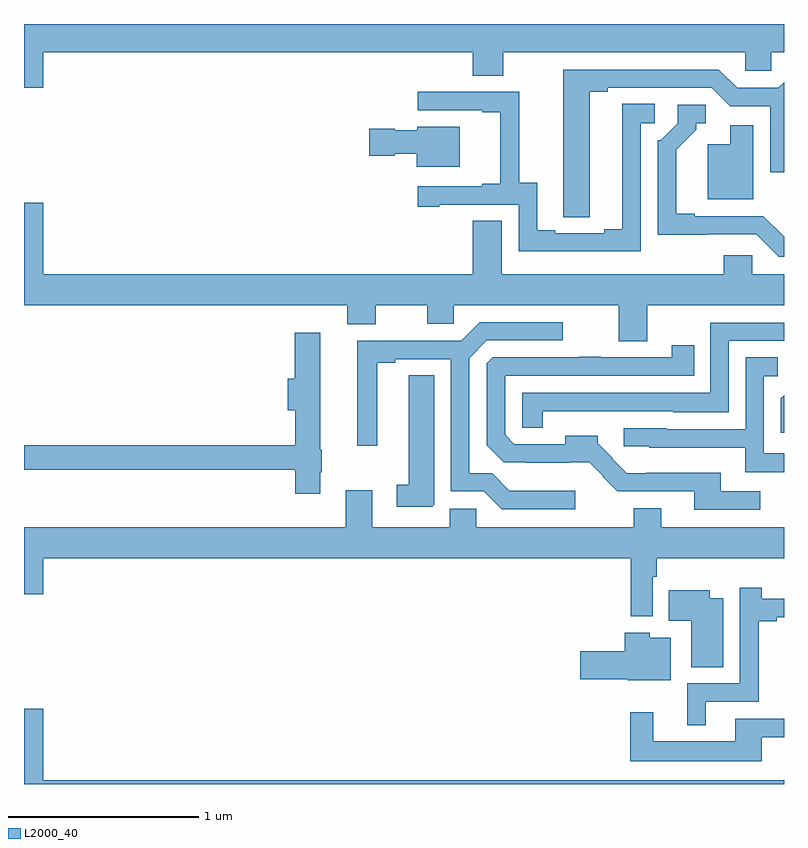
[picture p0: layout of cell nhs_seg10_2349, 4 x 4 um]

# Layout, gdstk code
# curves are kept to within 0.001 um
import gdstk
lib = gdstk.Library(unit=1e-6, precision=1e-09)
def P(c, l, *ps):  # polygons
    for p in ps: c.add(gdstk.Polygon(p, *l))
L2000_40 = (2000, 40)

nhs_seg10_2349 = lib.new_cell('nhs_seg10_2349')
P(nhs_seg10_2349, L2000_40, [(237.1,1264.352),(239.363,1264.352),(239.363,1264.228),(239.523,1264.228),(239.523,1264.352),(240.795,1264.352),(240.795,1264.254),(240.933,1264.254),(240.933,1264.352),(241,1264.352),(241,1264.5),(237,1264.5),(237,1264.164),(237.1,1264.164)],
  [(239.977,1264.144),(240.073,1264.144),(240.073,1264.164),(240.621,1264.164),(240.717,1264.068),(240.927,1264.068),(240.927,1263.72),(241,1263.72),(241,1264.193),(240.971,1264.164),(240.753,1264.164),(240.657,1264.26),(239.837,1264.26),(239.838,1263.484),(239.977,1263.484)],
  [(240.246,1263.978),(240.319,1263.978),(240.319,1264.079),(240.149,1264.079),(240.149,1263.419),(240.053,1263.419),(240.053,1263.399),(239.797,1263.399),(239.797,1263.414),(239.701,1263.414),(239.701,1263.665),(239.607,1263.665),(239.607,1264.143),(239.073,1264.143),(239.073,1264.047),(239.411,1264.047),(239.411,1264.035),(239.507,1264.035),(239.507,1263.658),(239.411,1263.658),(239.411,1263.645),(239.073,1263.645),(239.073,1263.537),(239.185,1263.537),(239.185,1263.549),(239.604,1263.549),(239.604,1263.303),(240.246,1263.303)],
  [(241,1263.38),(240.891,1263.489),(240.529,1263.489),(240.529,1263.502),(240.433,1263.502),(240.433,1263.838),(240.538,1263.943),(240.538,1263.978),(240.589,1263.978),(240.589,1264.074),(240.441,1264.074),(240.441,1263.978),(240.351,1263.888),(240.336,1263.888),(240.336,1263.392),(240.855,1263.393),(240.972,1263.276),(241,1263.276)],
  [(240.838,1263.967),(240.716,1263.967),(240.716,1263.868),(240.599,1263.868),(240.599,1263.578),(240.838,1263.578)],
  [(239.293,1263.958),(239.07,1263.958),(239.07,1263.94),(238.95,1263.94),(238.95,1263.948),(238.818,1263.948),(238.818,1263.806),(238.95,1263.806),(238.95,1263.818),(239.066,1263.818),(239.066,1263.749),(239.293,1263.749)],
  [(240.279,1263.02),(241,1263.02),(241,1263.184),(240.834,1263.184),(240.834,1263.282),(240.683,1263.282),(240.683,1263.184),(239.515,1263.184),(239.515,1263.464),(239.363,1263.464),(239.363,1263.184),(237.1,1263.184),(237.1,1263.559),(237,1263.559),(237,1263.02),(238.7,1263.02),(238.7,1262.921),(238.852,1262.921),(238.852,1263.02),(239.123,1263.02),(239.123,1262.922),(239.262,1262.922),(239.262,1263.02),(240.131,1263.02),(240.131,1262.83),(240.279,1262.83)],
  [(239.902,1262.044),(239.555,1262.044),(239.464,1262.135),(239.343,1262.135),(239.343,1262.742),(239.436,1262.835),(239.836,1262.835),(239.836,1262.931),(239.399,1262.931),(239.3,1262.832),(238.754,1262.832),(238.754,1262.28),(238.858,1262.28),(238.858,1262.716),(238.954,1262.716),(238.954,1262.736),(239.247,1262.736),(239.247,1262.04),(239.421,1262.04),(239.514,1261.947),(239.902,1261.947)],
  [(239.731,1262.462),(239.985,1262.462),(239.985,1262.463),(240.417,1262.463),(240.417,1262.456),(240.708,1262.456),(240.708,1262.832),(241,1262.832),(241,1262.928),(240.612,1262.928),(240.612,1262.559),(239.622,1262.559),(239.622,1262.374),(239.731,1262.374)],
  [(238.558,1262.14),(238.566,1262.14),(238.566,1262.259),(238.558,1262.259),(238.558,1262.875),(238.424,1262.875),(238.424,1262.634),(238.388,1262.634),(238.388,1262.468),(238.427,1262.468),(238.427,1262.282),(237,1262.282),(237,1262.154),(238.427,1262.154),(238.427,1262.028),(238.558,1262.028)],
  [(240.874,1262.04),(240.667,1262.04),(240.667,1262.137),(240.274,1262.137),(240.274,1262.135),(240.173,1262.135),(240.096,1262.211),(240.099,1262.214),(240.02,1262.293),(240.02,1262.332),(239.849,1262.332),(239.849,1262.289),(239.58,1262.289),(239.532,1262.337),(239.532,1262.649),(240.527,1262.649),(240.527,1262.809),(240.409,1262.809),(240.409,1262.745),(240.035,1262.745),(240.035,1262.75),(239.923,1262.75),(239.923,1262.745),(239.466,1262.745),(239.436,1262.715),(239.436,1262.283),(239.525,1262.194),(239.641,1262.194),(239.641,1262.192),(239.975,1262.193),(240.049,1262.119),(240.047,1262.117),(240.123,1262.04),(240.527,1262.04),(240.527,1261.944),(240.874,1261.944)],
  [(241,1262.241),(240.894,1262.241),(240.894,1262.646),(240.967,1262.646),(240.967,1262.747),(240.798,1262.747),(240.798,1262.367),(240.381,1262.367),(240.381,1262.373),(240.156,1262.373),(240.156,1262.277),(240.291,1262.277),(240.291,1262.27),(240.797,1262.27),(240.797,1262.141),(241,1262.141)],
  [(239.158,1261.969),(239.158,1262.651),(239.024,1262.651),(239.024,1262.075),(238.962,1262.075),(238.962,1261.959),(239.148,1261.959)],
  [(241,1262.546),(240.984,1262.53),(240.984,1262.349),(241,1262.349)],
  [(239.379,1261.95),(239.24,1261.95),(239.24,1261.852),(238.834,1261.852),(238.834,1262.047),(238.694,1262.047),(238.694,1261.852),(237,1261.852),(237,1261.5),(237.1,1261.5),(237.1,1261.688),(240.193,1261.688),(240.193,1261.382),(240.309,1261.382),(240.309,1261.592),(240.329,1261.592),(240.329,1261.688),(241,1261.688),(241,1261.852),(240.355,1261.852),(240.355,1261.951),(240.208,1261.951),(240.208,1261.852),(239.379,1261.852)],
  [(240.589,1260.933),(240.866,1260.933),(240.866,1261.357),(240.961,1261.357),(240.961,1261.377),(241,1261.377),(241,1261.475),(240.884,1261.475),(240.884,1261.534),(240.768,1261.534),(240.768,1261.029),(240.491,1261.029),(240.491,1260.809),(240.589,1260.809)],
  [(240.679,1261.477),(240.61,1261.477),(240.61,1261.519),(240.394,1261.519),(240.394,1261.358),(240.512,1261.358),(240.512,1261.114),(240.679,1261.114)],
  [(240.403,1261.27),(240.294,1261.27),(240.294,1261.297),(240.161,1261.297),(240.161,1261.199),(239.928,1261.199),(239.928,1261.052),(240.177,1261.052),(240.177,1261.046),(240.403,1261.046)],
  [(241,1260.52),(237.1,1260.52),(237.1,1260.895),(237,1260.895),(237,1260.5),(241,1260.5)],
  [(240.883,1260.747),(241,1260.747),(241,1260.843),(240.743,1260.843),(240.743,1260.724),(240.313,1260.724),(240.313,1260.877),(240.192,1260.877),(240.192,1260.62),(240.883,1260.62)])

lib.write_gds('nhs_seg10_2349.gds')
